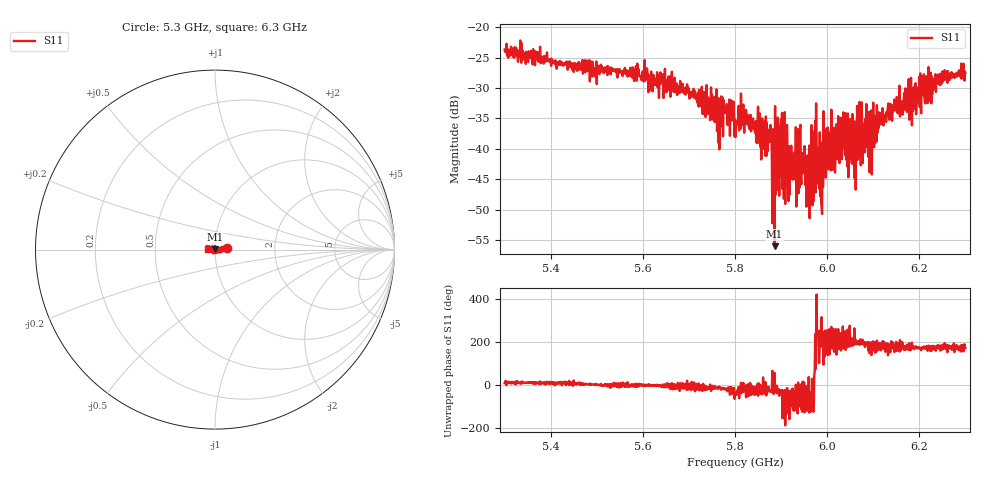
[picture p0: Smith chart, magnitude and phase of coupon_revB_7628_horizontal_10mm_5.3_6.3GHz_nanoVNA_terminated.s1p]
! NanoVNA-App
! Date: 2026-11-01 21:43:50
! Start: 5,3GHz Stop: 6,3GHz Points: 1001
! S-Parameter data: F S11
# Hz S RI R 50
!  Frequency  S11_Real  S11_Imag
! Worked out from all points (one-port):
!   1001 points, 5.3 GHz to 6.3 GHz, reference 50 ohm
!   lowest |S11| = -56.0 dB at 5.886 GHz (marker M1), VSWR 1.00, Z = 50.1 + j0.132 ohm
!   |S11| at or under -10 dB: start of sweep to end of sweep
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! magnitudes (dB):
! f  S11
! 5.3 GHz  -23.7
! 5.425 GHz  -26.0
! 5.55 GHz  -26.9
! 5.675 GHz  -31.1
! 5.78 GHz  -34.1
! 5.8 GHz  -35.2
! 5.813 GHz  -30.9
! 5.874 GHz  -38.3
! 5.886 GHz  -56.0
! 5.892 GHz  -36.7
! 5.897 GHz  -36.2
! 5.906 GHz  -48.2
! 5.925 GHz  -45.1
! 5.935 GHz  -43.8
! 5.946 GHz  -40.7
! 5.963 GHz  -42.7
! 5.979 GHz  -39.8
! 5.986 GHz  -46.4
! 5.997 GHz  -44.7
! 6.007 GHz  -40.7
! 6.035 GHz  -34.0
! 6.05 GHz  -35.1
! 6.064 GHz  -41.1
! 6.08 GHz  -38.3
! 6.092 GHz  -43.9
! 6.113 GHz  -34.0
! 6.175 GHz  -31.3
! 6.3 GHz  -27.5
